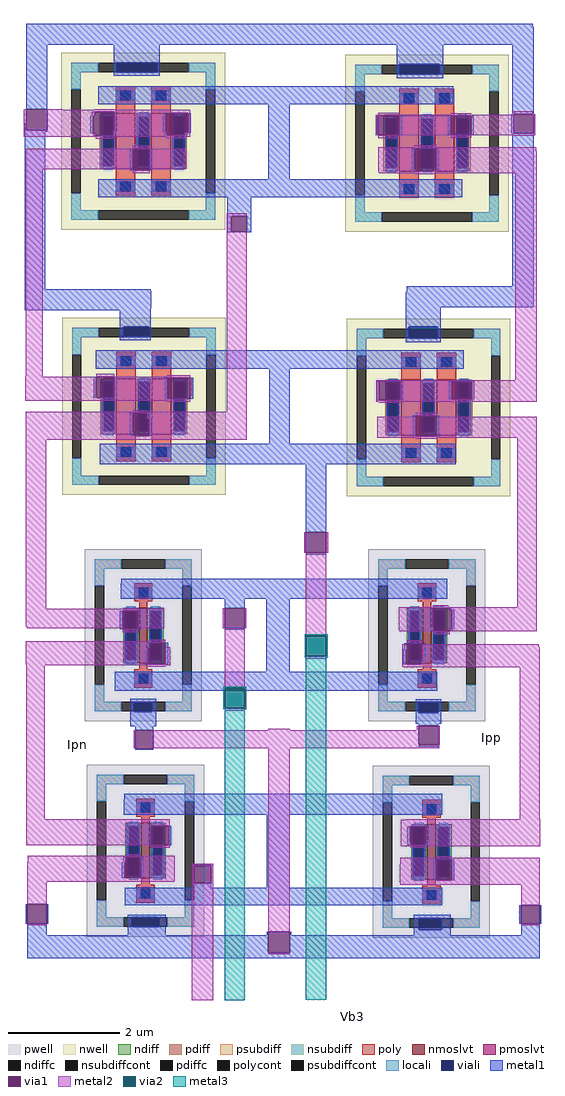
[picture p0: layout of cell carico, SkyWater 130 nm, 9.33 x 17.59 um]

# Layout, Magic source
magic
tech sky130A
magscale 1 2
<< viali >>
rect 1226 -156 1372 -122
rect 2244 -164 2390 -128
rect 1248 -1110 1342 -1074
rect 2278 -1116 2382 -1074
rect 1286 -2462 1354 -2428
rect 2312 -2464 2384 -2428
rect 1280 -3236 1378 -3202
rect 2314 -3246 2396 -3206
<< metal1 >>
rect 899 7 2725 17
rect 899 -58 2727 7
rect 899 -290 974 -58
rect 1214 -122 1380 -58
rect 1214 -156 1226 -122
rect 1372 -156 1380 -122
rect 1214 -170 1380 -156
rect 2234 -128 2402 -58
rect 2234 -164 2244 -128
rect 2390 -164 2402 -128
rect 2234 -178 2402 -164
rect 1158 -272 2438 -208
rect 893 -365 899 -341
rect 1136 -314 1146 -300
rect 893 -371 974 -365
rect 893 -939 968 -371
rect 1130 -376 1140 -314
rect 1216 -368 1226 -300
rect 1140 -386 1150 -376
rect 1212 -386 1222 -368
rect 1392 -374 1402 -304
rect 1482 -374 1492 -304
rect 1396 -384 1406 -374
rect 1470 -384 1480 -374
rect 1272 -510 1282 -432
rect 1344 -510 1354 -432
rect 1772 -542 1848 -272
rect 2650 -308 2727 -58
rect 2158 -384 2168 -312
rect 2244 -384 2254 -312
rect 2418 -382 2428 -314
rect 2502 -382 2512 -314
rect 2646 -376 2656 -308
rect 2724 -314 2734 -308
rect 2727 -376 2734 -314
rect 2288 -508 2298 -430
rect 2376 -508 2386 -430
rect 2290 -514 2300 -508
rect 2368 -514 2378 -508
rect 1158 -608 2471 -542
rect 1624 -676 1709 -608
rect 1624 -732 1638 -676
rect 1694 -732 1709 -676
rect 1624 -734 1709 -732
rect 2650 -928 2727 -376
rect 893 -944 1347 -939
rect 893 -1008 1350 -944
rect 2271 -948 2727 -928
rect 2266 -1003 2727 -948
rect 893 -1014 1348 -1008
rect 1236 -1074 1348 -1014
rect 1236 -1110 1248 -1074
rect 1342 -1110 1348 -1074
rect 1236 -1122 1348 -1110
rect 2266 -1074 2392 -1003
rect 2266 -1116 2278 -1074
rect 2382 -1116 2392 -1074
rect 2266 -1130 2392 -1116
rect 1149 -1225 2475 -1158
rect 1142 -1330 1152 -1254
rect 1216 -1330 1226 -1254
rect 1398 -1334 1408 -1258
rect 1490 -1334 1500 -1258
rect 1272 -1452 1282 -1384
rect 1336 -1406 1346 -1384
rect 1274 -1466 1284 -1452
rect 1342 -1466 1352 -1406
rect 1774 -1496 1848 -1225
rect 2162 -1338 2172 -1270
rect 2246 -1338 2256 -1270
rect 2422 -1336 2432 -1270
rect 2504 -1336 2514 -1270
rect 2292 -1468 2302 -1394
rect 2378 -1468 2388 -1394
rect 1164 -1570 2447 -1496
rect 1907 -1815 1981 -1570
rect 1907 -1895 1981 -1889
rect 1242 -2000 2416 -1982
rect 1240 -2054 2417 -2000
rect 1614 -2088 1686 -2054
rect 1236 -2164 1246 -2098
rect 1302 -2164 1312 -2098
rect 1614 -2166 1686 -2160
rect 1332 -2230 1342 -2212
rect 1328 -2290 1338 -2230
rect 1400 -2290 1410 -2212
rect 1764 -2318 1848 -2054
rect 2354 -2156 2364 -2088
rect 2420 -2094 2430 -2088
rect 2356 -2172 2366 -2156
rect 2432 -2162 2442 -2094
rect 2426 -2172 2436 -2162
rect 2262 -2236 2272 -2214
rect 2258 -2290 2268 -2236
rect 2326 -2276 2336 -2214
rect 2322 -2290 2332 -2276
rect 1218 -2386 2380 -2318
rect 1274 -2428 1368 -2414
rect 1274 -2462 1286 -2428
rect 1354 -2462 1368 -2428
rect 1274 -2514 1368 -2462
rect 2302 -2428 2394 -2416
rect 2302 -2464 2312 -2428
rect 2384 -2464 2394 -2428
rect 2302 -2504 2394 -2464
rect 2313 -2511 2383 -2504
rect 1292 -2528 1356 -2514
rect 2313 -2587 2383 -2581
rect 1292 -2598 1356 -2592
rect 1252 -2778 2398 -2756
rect 1250 -2832 2399 -2778
rect 1342 -2874 1352 -2872
rect 1410 -2874 1420 -2872
rect 1338 -2942 1348 -2874
rect 1412 -2942 1422 -2874
rect 1248 -3004 1258 -2984
rect 1310 -3004 1320 -2984
rect 1244 -3060 1254 -3004
rect 1312 -3060 1322 -3004
rect 1503 -3017 1565 -3011
rect 1503 -3096 1565 -3079
rect 1766 -3096 1848 -2832
rect 2272 -2934 2282 -2874
rect 2340 -2934 2350 -2874
rect 2274 -2942 2284 -2934
rect 2336 -2942 2346 -2934
rect 2366 -3068 2376 -2992
rect 2432 -3068 2442 -2992
rect 897 -3225 903 -3155
rect 973 -3225 979 -3155
rect 1254 -3158 2399 -3096
rect 1264 -3202 1402 -3192
rect 903 -3267 973 -3225
rect 1264 -3236 1280 -3202
rect 1378 -3236 1402 -3202
rect 1264 -3267 1402 -3236
rect 2296 -3206 2428 -3192
rect 2296 -3246 2314 -3206
rect 2396 -3246 2428 -3206
rect 2676 -3225 2682 -3158
rect 2749 -3225 2755 -3158
rect 1766 -3267 1772 -3254
rect 903 -3330 1772 -3267
rect 1848 -3267 1854 -3254
rect 2296 -3267 2428 -3246
rect 2682 -3267 2749 -3225
rect 1848 -3330 2749 -3267
rect 903 -3349 2749 -3330
rect 963 -3350 2693 -3349
<< via1 >>
rect 899 -365 974 -290
rect 1146 -314 1216 -300
rect 1140 -368 1216 -314
rect 1140 -376 1212 -368
rect 1150 -386 1212 -376
rect 1402 -374 1482 -304
rect 1406 -384 1470 -374
rect 1282 -510 1344 -432
rect 2168 -384 2244 -312
rect 2428 -382 2502 -314
rect 2656 -314 2724 -308
rect 2656 -376 2727 -314
rect 2298 -508 2376 -430
rect 2300 -514 2368 -508
rect 1638 -732 1694 -676
rect 1152 -1330 1216 -1254
rect 1408 -1334 1490 -1258
rect 1282 -1406 1336 -1384
rect 1282 -1452 1342 -1406
rect 1284 -1466 1342 -1452
rect 2172 -1338 2246 -1270
rect 2432 -1336 2504 -1270
rect 2302 -1468 2378 -1394
rect 1907 -1889 1981 -1815
rect 1246 -2164 1302 -2098
rect 1614 -2160 1686 -2088
rect 1342 -2230 1400 -2212
rect 1338 -2290 1400 -2230
rect 2364 -2094 2420 -2088
rect 2364 -2156 2432 -2094
rect 2366 -2162 2432 -2156
rect 2366 -2172 2426 -2162
rect 2272 -2236 2326 -2214
rect 2268 -2276 2326 -2236
rect 2268 -2290 2322 -2276
rect 1292 -2592 1356 -2528
rect 2313 -2581 2383 -2511
rect 1352 -2874 1410 -2872
rect 1348 -2942 1412 -2874
rect 1258 -3004 1310 -2984
rect 1254 -3060 1312 -3004
rect 1503 -3079 1565 -3017
rect 2282 -2934 2340 -2874
rect 2284 -2942 2336 -2934
rect 2376 -3068 2432 -2992
rect 903 -3225 973 -3155
rect 2682 -3225 2749 -3158
rect 1772 -3330 1848 -3254
<< metal2 >>
rect 893 -292 899 -290
rect 890 -365 899 -292
rect 974 -292 1031 -290
rect 1146 -292 1216 -290
rect 974 -300 1490 -292
rect 974 -314 1146 -300
rect 1216 -304 1490 -300
rect 974 -365 1140 -314
rect 890 -376 1140 -365
rect 1216 -368 1402 -304
rect 1212 -374 1402 -368
rect 1482 -374 1490 -304
rect 2168 -310 2244 -302
rect 2428 -310 2502 -304
rect 2656 -308 2724 -298
rect 890 -386 1150 -376
rect 1212 -384 1406 -374
rect 1470 -384 1490 -374
rect 2162 -312 2656 -310
rect 2162 -384 2168 -312
rect 2244 -314 2656 -312
rect 2724 -314 2734 -310
rect 2244 -382 2428 -314
rect 2502 -376 2656 -314
rect 2727 -376 2734 -314
rect 2502 -382 2734 -376
rect 2244 -384 2734 -382
rect 1212 -386 1490 -384
rect 890 -390 1490 -386
rect 1150 -396 1212 -390
rect 1406 -394 1470 -390
rect 2168 -394 2244 -384
rect 2428 -392 2502 -384
rect 2656 -386 2724 -384
rect 1282 -432 1344 -422
rect 2298 -428 2376 -420
rect 2168 -430 2736 -428
rect 898 -444 1282 -432
rect 897 -506 1282 -444
rect 897 -1254 959 -506
rect 1344 -444 1472 -432
rect 1344 -506 1474 -444
rect 1282 -520 1344 -510
rect 2168 -508 2298 -430
rect 2376 -442 2736 -430
rect 2376 -508 2739 -442
rect 2168 -514 2300 -508
rect 2368 -514 2739 -508
rect 2168 -516 2739 -514
rect 2170 -520 2739 -516
rect 2300 -524 2368 -520
rect 1622 -670 1693 -665
rect 1622 -676 1694 -670
rect 1622 -732 1638 -676
rect 1152 -1254 1216 -1244
rect 1408 -1254 1490 -1248
rect 896 -1330 1152 -1254
rect 1216 -1258 1490 -1254
rect 1216 -1330 1408 -1258
rect 896 -1334 1408 -1330
rect 1490 -1321 1495 -1259
rect 896 -1340 1490 -1334
rect 1408 -1344 1490 -1340
rect 1282 -1380 1336 -1374
rect 1622 -1380 1694 -732
rect 2661 -1267 2739 -520
rect 2161 -1270 2739 -1267
rect 2161 -1338 2172 -1270
rect 2246 -1336 2432 -1270
rect 2504 -1336 2739 -1270
rect 2246 -1338 2739 -1336
rect 2161 -1345 2739 -1338
rect 2172 -1348 2246 -1345
rect 2432 -1346 2504 -1345
rect 898 -1384 1694 -1380
rect 898 -1452 1282 -1384
rect 1336 -1406 1694 -1384
rect 2302 -1394 2378 -1384
rect 898 -1466 1284 -1452
rect 1342 -1466 1694 -1406
rect 898 -1482 1693 -1466
rect 2164 -1468 2302 -1398
rect 2378 -1403 2738 -1398
rect 2378 -1468 2739 -1403
rect 2164 -1474 2739 -1468
rect 2302 -1478 2378 -1474
rect 898 -2090 972 -1482
rect 1901 -1889 1907 -1815
rect 1981 -1889 1987 -1815
rect 1246 -2090 1302 -2088
rect 898 -2098 1397 -2090
rect 898 -2154 1246 -2098
rect 901 -2161 1246 -2154
rect 1302 -2161 1397 -2098
rect 1608 -2160 1614 -2088
rect 1686 -2160 1692 -2088
rect 1246 -2174 1302 -2164
rect 1342 -2208 1400 -2202
rect 898 -2212 1400 -2208
rect 898 -2230 1342 -2212
rect 898 -2290 1338 -2230
rect 1400 -2290 1418 -2228
rect 899 -2294 1418 -2290
rect 899 -2848 965 -2294
rect 1338 -2300 1400 -2294
rect 1614 -2376 1686 -2160
rect 1907 -2187 1981 -1889
rect 2364 -2084 2420 -2078
rect 2668 -2084 2739 -1474
rect 2242 -2088 2739 -2084
rect 2242 -2156 2364 -2088
rect 2420 -2094 2739 -2088
rect 2242 -2166 2366 -2156
rect 2432 -2157 2739 -2094
rect 2432 -2162 2738 -2157
rect 2244 -2172 2366 -2166
rect 2426 -2172 2738 -2162
rect 2366 -2182 2426 -2172
rect 2272 -2214 2326 -2204
rect 1907 -2270 1981 -2261
rect 2254 -2236 2272 -2218
rect 2326 -2229 2746 -2218
rect 2254 -2290 2268 -2236
rect 2326 -2276 2750 -2229
rect 2322 -2290 2750 -2276
rect 2254 -2300 2750 -2290
rect 2258 -2301 2750 -2300
rect 1614 -2457 1686 -2448
rect 1772 -2528 1848 -2522
rect 2307 -2528 2313 -2511
rect 1286 -2592 1292 -2528
rect 1356 -2581 2313 -2528
rect 2383 -2581 2389 -2511
rect 1356 -2592 2388 -2581
rect 899 -2864 1416 -2848
rect 900 -2872 1416 -2864
rect 900 -2874 1352 -2872
rect 1410 -2874 1416 -2872
rect 900 -2942 1348 -2874
rect 1412 -2942 1416 -2874
rect 1348 -2952 1416 -2942
rect 1258 -2980 1310 -2974
rect 904 -2984 1434 -2980
rect 904 -3003 1258 -2984
rect 903 -3004 1258 -3003
rect 1310 -3004 1434 -2984
rect 903 -3060 1254 -3004
rect 1312 -3060 1434 -3004
rect 903 -3070 1434 -3060
rect 1496 -3017 1573 -3009
rect 903 -3073 1433 -3070
rect 903 -3155 973 -3073
rect 903 -3231 973 -3225
rect 1496 -3079 1503 -3017
rect 1565 -3079 1573 -3017
rect 1496 -3500 1573 -3079
rect 1772 -3254 1848 -2592
rect 2678 -2849 2750 -2301
rect 2267 -2850 2751 -2849
rect 2248 -2874 2752 -2850
rect 2248 -2934 2282 -2874
rect 2340 -2934 2752 -2874
rect 2248 -2942 2284 -2934
rect 2336 -2942 2752 -2934
rect 2248 -2946 2752 -2942
rect 2284 -2952 2336 -2946
rect 2376 -2988 2432 -2982
rect 2246 -2992 2750 -2988
rect 2246 -3011 2376 -2992
rect 2245 -3068 2376 -3011
rect 2432 -3068 2750 -2992
rect 2245 -3078 2750 -3068
rect 2246 -3084 2750 -3078
rect 2682 -3158 2749 -3084
rect 2682 -3231 2749 -3225
rect 1772 -3336 1848 -3330
<< via2 >>
rect 1907 -2261 1981 -2187
rect 1614 -2448 1686 -2376
<< metal3 >>
rect 1902 -2187 1986 -2182
rect 1902 -2261 1907 -2187
rect 1981 -2261 1986 -2187
rect 1902 -2266 1986 -2261
rect 1609 -2376 1691 -2371
rect 1609 -2448 1614 -2376
rect 1686 -2448 1691 -2376
rect 1609 -2453 1691 -2448
rect 1614 -3500 1686 -2453
rect 1907 -3499 1981 -2266
use sky130_fd_pr__pfet_01v8_lvt_4Q3NH3  XM1
transform -1 0 1323 0 1 -1361
box -295 -319 295 319
use sky130_fd_pr__pfet_01v8_lvt_4Q3NH3  XM2
transform 1 0 2343 0 1 -413
box -295 -319 295 319
use sky130_fd_pr__pfet_01v8_lvt_4Q3NH3  XM3
transform 1 0 1321 0 1 -405
box -295 -319 295 319
use sky130_fd_pr__pfet_01v8_lvt_4Q3NH3  XM4
transform 1 0 2349 0 1 -1365
box -295 -319 295 319
use sky130_fd_pr__nfet_01v8_lvt_648S5X  XM6
transform 1 0 1321 0 1 -2186
box -211 -310 211 310
use sky130_fd_pr__nfet_01v8_lvt_648S5X  XM7
transform 1 0 2343 0 1 -2186
box -211 -310 211 310
use sky130_fd_pr__nfet_01v8_lvt_648S5X  XM8
transform 1 0 1329 0 1 -2962
box -211 -310 211 310
use sky130_fd_pr__nfet_01v8_lvt_648S5X  XM9
transform 1 0 2359 0 1 -2966
box -211 -310 211 310
<< labels >>
flabel space 1558 68 1962 272 0 FreeSans 1600 0 0 0 Vdd
flabel space 564 -886 840 -746 0 FreeSans 480 0 0 0 Inn
flabel space 2798 -918 2932 -818 0 FreeSans 480 0 0 0 Inp
flabel space 2832 -3336 3080 -3236 0 FreeSans 480 0 0 0 Vss
flabel space 1014 -2620 1156 -2536 0 FreeSans 480 0 0 0 Ipn
flabel space 2490 -2594 2662 -2512 0 FreeSans 480 0 0 0 Ipp
flabel space 1634 -3630 1788 -3552 0 FreeSans 480 0 0 0 Vb2
flabel space 1998 -3628 2150 -3526 0 FreeSans 480 0 0 0 Vb3
flabel space 1342 -3648 1564 -3546 0 FreeSans 480 0 0 0 Vb1
flabel space 2780 -1862 3012 -1694 0 FreeSans 480 0 0 0 out
<< end >>

# cell sky130_fd_pr__pfet_01v8_lvt_4Q3NH3: kit device sky130_fd_pr__pfet_01v8_lvt, w 1.0 l 0.35 m 1 nf 2 diffcov 100 polycov 100 guard 1 glc 1 grc 1 gtc 1 gbc 1 tbcov 100 rlcov 100 topc 1 botc 1 poverlap 0 doverlap 1 lmin 0.35 wmin 0.42 compatible {sky130_fd_pr__pfet_01v8 sky130_fd_pr__pfet_01v8_lvt sky130_fd_pr__pfet_01v8_hvt sky130_fd_pr__pfet_g5v0d10v5} full_metal 1 viasrc 100 viadrn 100 viagate 100 viagb 0 viagr 0 viagl 0 viagt 0

# cell sky130_fd_pr__nfet_01v8_lvt_648S5X: kit device sky130_fd_pr__nfet_01v8_lvt, w 1.0 l 0.15 m 1 nf 1 diffcov 100 polycov 100 guard 1 glc 1 grc 1 gtc 1 gbc 1 tbcov 100 rlcov 100 topc 1 botc 1 poverlap 0 doverlap 1 lmin 0.15 wmin 0.42 compatible {sky130_fd_pr__nfet_01v8 sky130_fd_pr__nfet_01v8_lvt sky130_fd_bs_flash__special_sonosfet_star sky130_fd_pr__nfet_g5v0d10v5 sky130_fd_pr__nfet_05v0_nvt sky130_fd_pr__nfet_03v3_nvt} full_metal 1 viasrc 100 viadrn 100 viagate 100 viagb 0 viagr 0 viagl 0 viagt 0
